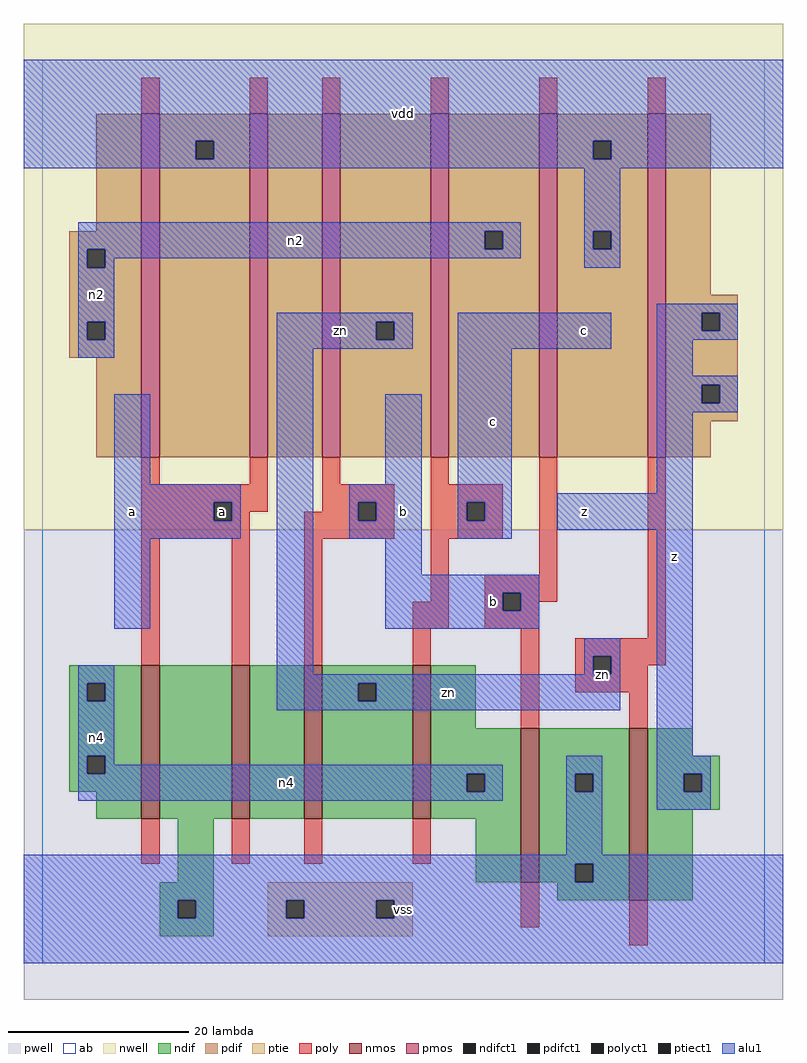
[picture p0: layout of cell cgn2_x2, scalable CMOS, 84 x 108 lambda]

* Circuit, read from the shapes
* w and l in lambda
.subckt cgn2_x2 a b c n2 n4 vdd vss z zn
M1 vss a n4 vss nfet w=17 l=2
M2 n1 a vss vss nfet w=17 l=2
M3 zn b n1 vss nfet w=17 l=2
M4 n4 c zn vss nfet w=17 l=2
M5 vss b n4 vss nfet w=17 l=2
M6 z zn vss vss nfet w=19 l=2
M7 vdd a n2 n3 pfet w=38 l=2
M8 n5 a vdd n3 pfet w=38 l=2
M9 zn b n5 n3 pfet w=38 l=2
M10 n2 c zn n3 pfet w=38 l=2
M11 vdd b n2 n3 pfet w=38 l=2
M12 z zn vdd n3 pfet w=38 l=2
.ends

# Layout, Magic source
magic
tech scmos
<< ab >>
rect 0 0 80 100
<< nwell >>
rect -2 48 82 104
<< pwell >>
rect -2 -4 82 48
<< poly >>
rect 11 94 13 98
rect 23 94 25 98
rect 31 94 33 98
rect 43 94 45 98
rect 55 94 57 98
rect 67 94 69 98
rect 11 53 13 56
rect 23 53 25 56
rect 11 51 25 53
rect 11 49 19 51
rect 21 50 25 51
rect 31 53 33 56
rect 43 53 45 56
rect 31 51 39 53
rect 31 50 35 51
rect 21 49 23 50
rect 11 47 23 49
rect 11 33 13 47
rect 21 33 23 47
rect 29 49 35 50
rect 37 49 39 51
rect 29 47 39 49
rect 43 51 51 53
rect 43 49 47 51
rect 49 49 51 51
rect 43 47 51 49
rect 29 33 31 47
rect 43 40 45 47
rect 55 43 57 56
rect 41 37 45 40
rect 49 41 57 43
rect 49 39 51 41
rect 53 40 57 41
rect 53 39 55 40
rect 49 37 55 39
rect 41 33 43 37
rect 53 26 55 37
rect 67 36 69 56
rect 59 34 69 36
rect 59 32 61 34
rect 63 33 69 34
rect 63 32 67 33
rect 59 30 67 32
rect 65 26 67 30
rect 11 11 13 16
rect 21 11 23 16
rect 29 11 31 16
rect 41 11 43 16
rect 53 4 55 9
rect 65 2 67 7
<< ndif >>
rect 3 31 11 33
rect 3 29 5 31
rect 7 29 11 31
rect 3 23 11 29
rect 3 21 5 23
rect 7 21 11 23
rect 3 19 11 21
rect 6 16 11 19
rect 13 16 21 33
rect 23 16 29 33
rect 31 31 41 33
rect 31 29 35 31
rect 37 29 41 31
rect 31 16 41 29
rect 43 26 48 33
rect 43 21 53 26
rect 43 19 47 21
rect 49 19 53 21
rect 43 16 53 19
rect 15 9 19 16
rect 48 9 53 16
rect 55 21 65 26
rect 55 19 59 21
rect 61 19 65 21
rect 55 11 65 19
rect 55 9 59 11
rect 61 9 65 11
rect 13 7 19 9
rect 13 5 15 7
rect 17 5 19 7
rect 13 3 19 5
rect 57 7 65 9
rect 67 23 72 26
rect 67 21 75 23
rect 67 19 71 21
rect 73 19 75 21
rect 67 17 75 19
rect 67 7 72 17
<< pdif >>
rect 6 81 11 94
rect 3 79 11 81
rect 3 77 5 79
rect 7 77 11 79
rect 3 71 11 77
rect 3 69 5 71
rect 7 69 11 71
rect 3 67 11 69
rect 6 56 11 67
rect 13 91 23 94
rect 13 89 17 91
rect 19 89 23 91
rect 13 56 23 89
rect 25 56 31 94
rect 33 71 43 94
rect 33 69 37 71
rect 39 69 43 71
rect 33 56 43 69
rect 45 81 55 94
rect 45 79 49 81
rect 51 79 55 81
rect 45 56 55 79
rect 57 91 67 94
rect 57 89 61 91
rect 63 89 67 91
rect 57 81 67 89
rect 57 79 61 81
rect 63 79 67 81
rect 57 56 67 79
rect 69 74 74 94
rect 69 72 77 74
rect 69 70 73 72
rect 75 70 77 72
rect 69 64 77 70
rect 69 62 73 64
rect 75 62 77 64
rect 69 60 77 62
rect 69 56 74 60
<< alu1 >>
rect -2 91 82 100
rect -2 89 17 91
rect 19 89 61 91
rect 63 89 82 91
rect -2 88 82 89
rect 4 81 53 82
rect 4 79 49 81
rect 51 79 53 81
rect 4 77 5 79
rect 7 78 53 79
rect 60 81 64 88
rect 60 79 61 81
rect 63 79 64 81
rect 7 77 8 78
rect 60 77 64 79
rect 4 71 8 77
rect 68 72 77 73
rect 4 69 5 71
rect 7 69 8 71
rect 4 67 8 69
rect 26 71 41 72
rect 26 69 37 71
rect 39 69 41 71
rect 26 68 41 69
rect 46 68 63 72
rect 68 70 73 72
rect 75 70 77 72
rect 68 69 77 70
rect 8 53 12 63
rect 8 51 22 53
rect 8 49 19 51
rect 21 49 22 51
rect 8 47 22 49
rect 8 37 12 47
rect 4 31 8 33
rect 4 29 5 31
rect 7 29 8 31
rect 4 23 8 29
rect 26 32 30 68
rect 38 53 42 63
rect 34 51 42 53
rect 34 49 35 51
rect 37 49 42 51
rect 34 47 42 49
rect 46 51 52 68
rect 68 65 72 69
rect 68 64 77 65
rect 68 62 73 64
rect 75 62 77 64
rect 68 61 77 62
rect 68 52 72 61
rect 46 49 47 51
rect 49 49 52 51
rect 46 47 52 49
rect 57 48 72 52
rect 38 43 42 47
rect 38 41 55 43
rect 38 39 51 41
rect 53 39 55 41
rect 38 37 55 39
rect 60 34 64 36
rect 60 32 61 34
rect 63 32 64 34
rect 26 31 64 32
rect 26 29 35 31
rect 37 29 64 31
rect 26 28 64 29
rect 68 23 72 48
rect 4 21 5 23
rect 7 22 8 23
rect 7 21 51 22
rect 4 19 47 21
rect 49 19 51 21
rect 4 18 51 19
rect 58 21 62 23
rect 58 19 59 21
rect 61 19 62 21
rect 58 12 62 19
rect 68 21 74 23
rect 68 19 71 21
rect 73 19 74 21
rect 68 17 74 19
rect -2 11 82 12
rect -2 9 59 11
rect 61 9 82 11
rect -2 7 82 9
rect -2 5 15 7
rect 17 5 27 7
rect 29 5 37 7
rect 39 5 82 7
rect -2 0 82 5
<< ptie >>
rect 25 7 41 9
rect 25 5 27 7
rect 29 5 37 7
rect 39 5 41 7
rect 25 3 41 5
<< nmos >>
rect 11 16 13 33
rect 21 16 23 33
rect 29 16 31 33
rect 41 16 43 33
rect 53 9 55 26
rect 65 7 67 26
<< pmos >>
rect 11 56 13 94
rect 23 56 25 94
rect 31 56 33 94
rect 43 56 45 94
rect 55 56 57 94
rect 67 56 69 94
<< polyct1 >>
rect 19 49 21 51
rect 35 49 37 51
rect 47 49 49 51
rect 51 39 53 41
rect 61 32 63 34
<< ndifct1 >>
rect 5 29 7 31
rect 5 21 7 23
rect 35 29 37 31
rect 47 19 49 21
rect 59 19 61 21
rect 59 9 61 11
rect 15 5 17 7
rect 71 19 73 21
<< ptiect1 >>
rect 27 5 29 7
rect 37 5 39 7
<< pdifct1 >>
rect 5 77 7 79
rect 5 69 7 71
rect 17 89 19 91
rect 37 69 39 71
rect 49 79 51 81
rect 61 89 63 91
rect 61 79 63 81
rect 73 70 75 72
rect 73 62 75 64
<< labels >>
rlabel alu1 6 25 6 25 6 n4
rlabel alu1 10 50 10 50 6 a
rlabel alu1 6 74 6 74 6 n2
rlabel polyct1 20 50 20 50 6 a
rlabel alu1 40 6 40 6 6 vss
rlabel alu1 40 50 40 50 6 b
rlabel alu1 33 70 33 70 6 zn
rlabel alu1 40 94 40 94 6 vdd
rlabel alu1 27 20 27 20 6 n4
rlabel alu1 45 30 45 30 6 zn
rlabel alu1 62 32 62 32 6 zn
rlabel alu1 50 40 50 40 6 b
rlabel alu1 60 50 60 50 6 z
rlabel alu1 50 60 50 60 6 c
rlabel alu1 60 70 60 70 6 c
rlabel alu1 28 80 28 80 6 n2
rlabel alu1 70 45 70 45 6 z
<< end >>
